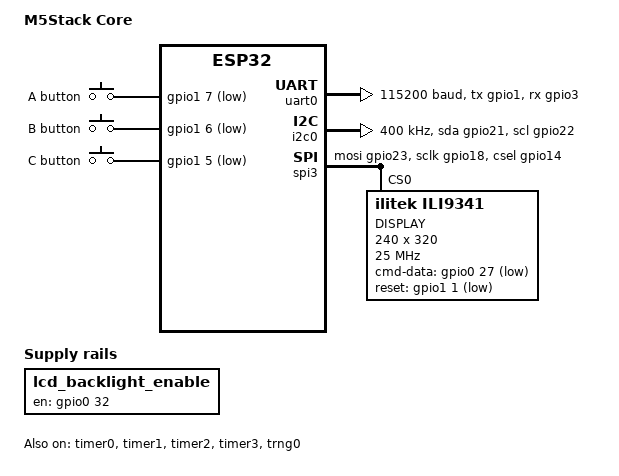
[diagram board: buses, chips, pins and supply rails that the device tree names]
/*
 * Copyright (c) 2022 Stephen Oliver
 *
 * SPDX-License-Identifier: Apache-2.0
 */
/dts-v1/;

#include <espressif/esp32.dtsi>
#include "m5stack_core-pinctrl.dtsi"

/ {
	model = "M5Stack Core";
	compatible = "m5stack,m5stack_core", "espressif,esp32";

	aliases {
		uart-0 = &uart0;
		i2c-0 = &i2c0;
		porta = &i2c0;
		sw0 = &button_a;
		sw1 = &button_b;
		sw2 = &button_c;
	};

	chosen {
		zephyr,sram = &sram0;
		zephyr,console = &uart0;
		zephyr,shell-uart = &uart0;
		zephyr,flash = &flash0;
		zephyr,display = &ili9342c;
	};

	buttons {
		compatible = "gpio-keys";
		button_a: button_a {
			label = "A button";
			gpios = <&gpio1 7 GPIO_ACTIVE_LOW>;
		};
		button_b: button_b {
			label = "B button";
			gpios = <&gpio1 6 GPIO_ACTIVE_LOW>;
		};
		button_c: button_c {
			label = "C button";
			gpios = <&gpio1 5 GPIO_ACTIVE_LOW>;
		};
	};

	lcd_backlight_en {
		compatible = "regulator-fixed-sync", "regulator-fixed";
		label = "lcd_backlight_enable";
		regulator-name = "lcd_backlight_enable";
		enable-gpios = <&gpio0 32 GPIO_ACTIVE_HIGH>;
		regulator-boot-on;
	};
};

&cpu0 {
	clock-frequency = <ESP32_CLK_CPU_240M>;
};

&cpu1 {
	clock-frequency = <ESP32_CLK_CPU_240M>;
};

&uart0 {
	status = "okay";
	current-speed = <115200>;
	pinctrl-0 = <&uart0_tx_gpio1 &uart0_rx_gpio3>;
	pinctrl-names = "default";
};

&gpio0 {
	status = "okay";
};

&gpio1 {
	status = "okay";
};

&i2c0 {
	status = "okay";
	clock-frequency = <I2C_BITRATE_FAST>;
	sda-pin = <21>;
	scl-pin = <22>;
	pinctrl-0 = <&i2c0_sda_gpio21 &i2c0_scl_gpio22>;
	pinctrl-names = "default";
};

&spi3 {
	#address-cells = <1>;
	#size-cells = <0>;
	status = "okay";
	pinctrl-0 = <&spim3_mosi_gpio23 &spim3_sclk_gpio18 
	             &spim3_csel_gpio14>;
	pinctrl-names = "default";

	ili9342c: ili9342c@0 {
		compatible = "ilitek,ili9341";
		label = "DISPLAY";
		spi-max-frequency = <25000000>;
		reg = <0>;
		display-inversion;
		cmd-data-gpios = <&gpio0 27 GPIO_ACTIVE_LOW>;
		reset-gpios = <&gpio1 1 GPIO_ACTIVE_LOW>;
		pixel-format = <0>;
		rotation = <0>;
		
		width = <240>;
		height = <320>;
		//pwctrl1 = [12];
		//pwctrl2 = [03];
		//vmctrl1 = [f2];
		pgamctrl = [00 0C 11 04 11 08 37 89 4C 06 0C 0A 2E 34 0F];
		ngamctrl = [00 0B 11 05 13 09 33 67 48 07 0E 0B 2E 33 0F];
	};
};

&timer0 {
	status = "okay";
};

&timer1 {
	status = "okay";
};

&timer2 {
	status = "okay";
};

&timer3 {
	status = "okay";
};

&trng0 {
	status = "okay";
};

&flash0 {
	status = "okay";
	partitions {
		compatible = "fixed-partitions";
		#address-cells = <1>;
		#size-cells = <1>;

		/* Reserve 60kB for the bootloader */
		boot_partition: partition@1000 {
			label = "mcuboot";
			reg = <0x00001000 0x0000F000>;
			read-only;
		};

		/* Reserve 1024kB for the application in slot 0 */
		slot0_partition: partition@10000 {
			label = "image-0";
			reg = <0x00010000 0x00100000>;
		};

		/* Reserve 1024kB for the application in slot 1 */
		slot1_partition: partition@110000 {
			label = "image-1";
			reg = <0x00110000 0x00100000>;
		};

		/* Reserve 256kB for the scratch partition */
		scratch_partition: partition@210000 {
			   label = "image-scratch";
			   reg = <0x00210000 0x00040000>;
		};

		storage_partition: partition@250000 {
			label = "storage";
			reg = <0x00250000 0x00006000>;
		};
	};
};
